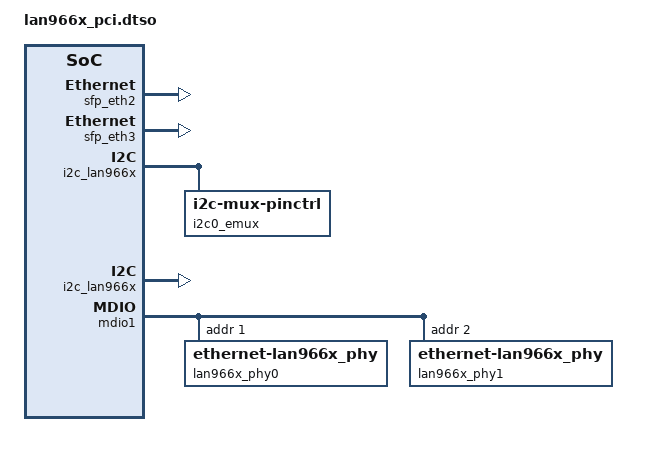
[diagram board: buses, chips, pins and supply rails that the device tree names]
// SPDX-License-Identifier: GPL-2.0
/*
 * Copyright (C) 2022 Microchip UNG
 */

#include <dt-bindings/clock/microchip,lan966x.h>
#include <dt-bindings/gpio/gpio.h>
#include <dt-bindings/interrupt-controller/irq.h>
#include <dt-bindings/mfd/atmel-flexcom.h>
#include <dt-bindings/phy/phy-lan966x-serdes.h>

/dts-v1/;
/plugin/;

/ {
	fragment@0 {
		target-path = "";

		/*
		 * These properties allow to avoid a dtc warnings.
		 * The real interrupt controller is the PCI device itself. It
		 * is the node on which the device tree overlay will be applied.
		 * This node has those properties.
		 */
		#interrupt-cells = <1>;
		interrupt-controller;

		__overlay__ {
			#address-cells = <3>;
			#size-cells = <2>;

			cpu_clk: clock-600000000 {
				compatible = "fixed-clock";
				#clock-cells = <0>;
				clock-frequency = <600000000>;  /* CPU clock = 600MHz */
			};

			ddr_clk: clock-30000000 {
				compatible = "fixed-clock";
				#clock-cells = <0>;
				clock-frequency = <30000000>;  /* Fabric clock = 30MHz */
			};

			sys_clk: clock-15625000 {
				compatible = "fixed-clock";
				#clock-cells = <0>;
				clock-frequency = <15625000>;  /* System clock = 15.625MHz */
			};

			nic_clk: clock-200000000 {
				compatible = "fixed-clock";
				#clock-cells = <0>;
				clock-frequency = <200000000>;  /* NIC clock = 200MHz */
			};

			sfp_eth2: sfp-eth2 {
				compatible       = "sff,sfp";
				i2c-bus          = <&i2c102>;
				tx-disable-gpios = <&gpio  0 GPIO_ACTIVE_HIGH>;
				los-gpios        = <&gpio 25 GPIO_ACTIVE_HIGH>;
				mod-def0-gpios   = <&gpio 18 GPIO_ACTIVE_LOW>;
				tx-fault-gpios   = <&gpio  2 GPIO_ACTIVE_HIGH>;
			};

			sfp_eth3: sfp-eth3 {
				compatible       = "sff,sfp";
				i2c-bus          = <&i2c103>;
				tx-disable-gpios = <&gpio  1 GPIO_ACTIVE_HIGH>;
				los-gpios        = <&gpio 26 GPIO_ACTIVE_HIGH>;
				mod-def0-gpios   = <&gpio 19 GPIO_ACTIVE_LOW>;
				tx-fault-gpios   = <&gpio  3 GPIO_ACTIVE_HIGH>;
			};

			i2c0_emux: i2c0-emux {
				compatible = "i2c-mux-pinctrl";
				#address-cells = <1>;
				#size-cells = <0>;
				i2c-parent = <&i2c_lan966x>;
				pinctrl-names = "i2c102", "i2c103", "idle";
				pinctrl-0 = <&i2cmux_0>;
				pinctrl-1 = <&i2cmux_1>;
				pinctrl-2 = <&i2cmux_pins>;

				i2c102: i2c_sfp1 {
					reg = <0>;
					#address-cells = <1>;
					#size-cells = <0>;
				};

				i2c103: i2c_sfp2 {
					reg = <1>;
					#address-cells = <1>;
					#size-cells = <0>;
				};
			};

			pci-ep-bus@0 {
				compatible = "simple-bus";
				#address-cells = <1>;
				#size-cells = <1>;

				/*
				 * map @0xe2000000 (32MB) to BAR0 (CPU)
				 * map @0xe0000000 (16MB) to BAR1 (AMBA)
				 */
				ranges = <0xe2000000 0x00 0x00 0x00 0x2000000
				          0xe0000000 0x01 0x00 0x00 0x1000000>;

				oic: oic@e00c0120 {
					compatible = "microchip,lan966x-oic";
					#interrupt-cells = <2>;
					interrupt-controller;
					interrupts = <0>; /* PCI INTx assigned interrupt */
					reg = <0xe00c0120 0x190>;
				};

				cpu_ctrl: syscon@e00c0000 {
					compatible = "microchip,lan966x-cpu-syscon", "syscon";
					reg = <0xe00c0000 0xa8>;
				};

				clks: clock-controller@e00c00a8 {
					compatible = "microchip,lan966x-gck";
					#clock-cells = <1>;
					clocks = <&cpu_clk>, <&ddr_clk>, <&sys_clk>;
					reg = <0xe00c00a8 0x38>, <0xe00c02cc 0x4>;
				};

				reset: reset@e200400c {
					compatible = "microchip,lan966x-switch-reset";
					reg = <0xe200400c 0x4>, <0xe00c0000 0xa8>;
					reg-names = "gcb","cpu";
					#reset-cells = <1>;
					cpu-syscon = <&cpu_ctrl>;
				};

				gpio: pinctrl@e2004064 {
					compatible = "microchip,lan966x-pinctrl";
					reg = <0xe2004064 0xb4>,
					      <0xe2010024 0x138>;
					resets = <&reset 0>;
					reset-names = "switch";
					gpio-controller;
					#gpio-cells = <2>;
					gpio-ranges = <&gpio 0 0 78>;
					interrupt-parent = <&oic>;
					interrupt-controller;
					interrupts = <17 IRQ_TYPE_LEVEL_HIGH>;
					#interrupt-cells = <2>;

					tod_pins: tod_pins {
						pins = "GPIO_36";
						function = "ptpsync_1";
					};

					fc0_a_pins: fcb4-i2c-pins {
						/* RXD, TXD */
						pins = "GPIO_9", "GPIO_10";
						function = "fc0_a";
					};

					i2cmux_pins: i2cmux-pins {
						pins = "GPIO_76", "GPIO_77";
						function = "twi_slc_gate";
						output-low;
					};

					i2cmux_0: i2cmux-0 {
						pins = "GPIO_76";
						function = "twi_slc_gate";
						output-high;
					};

					i2cmux_1: i2cmux-1 {
						pins = "GPIO_77";
						function = "twi_slc_gate";
						output-high;
					};

				};

				flx0: flexcom@e0040000 {
					compatible = "atmel,sama5d2-flexcom";
					reg = <0xe0040000 0x100>;
					clocks = <&ddr_clk>;
					#address-cells = <1>;
					#size-cells = <1>;
					ranges = <0x0 0xe0040000 0x800>;

					atmel,flexcom-mode = <ATMEL_FLEXCOM_MODE_TWI>;

					i2c_lan966x: i2c@600 {
						compatible = "microchip,sam9x60-i2c";
						reg = <0x600 0x200>;
						interrupt-parent = <&oic>;
						interrupts = <48 IRQ_TYPE_LEVEL_HIGH>;
						#address-cells = <1>;
						#size-cells = <0>;
						clocks = <&nic_clk>;
						pinctrl-0 = <&fc0_a_pins>;
						pinctrl-names = "default";
						i2c-analog-filter;
						i2c-digital-filter;
						i2c-digital-filter-width-ns = <35>;
						i2c-sda-hold-time-ns = <1500>;
					};
				};

				serdes: serdes@e202c000 {
					compatible = "microchip,lan966x-serdes";
					reg = <0xe202c000 0x9c>,
					      <0xe2004010 0x4>;
					#phy-cells = <2>;
				};

				mdio1: mdio@e200413c {
					#address-cells = <1>;
					#size-cells = <0>;
					compatible = "microchip,lan966x-miim";
					reg = <0xe200413c 0x24>,
					      <0xe2010020 0x4>;

					resets = <&reset 0>;
					reset-names = "switch";

					lan966x_phy0: ethernet-lan966x_phy@1 {
						reg = <1>;
					};

					lan966x_phy1: ethernet-lan966x_phy@2 {
						reg = <2>;
					};
				};

				switch: switch@e0000000 {
					compatible = "microchip,lan966x-pci-switch";
					reg = <0xe0000000 0x0800000>,
					      <0xe2000000 0x0800000>;
					reg-names = "cpu", "gcb";

					interrupt-parent = <&oic>;
					interrupts = <12 IRQ_TYPE_LEVEL_HIGH>,
						     <14 IRQ_TYPE_LEVEL_HIGH>,
						     <9 IRQ_TYPE_LEVEL_HIGH>,
						     <10 IRQ_TYPE_LEVEL_HIGH>,
						     <11 IRQ_TYPE_LEVEL_HIGH>;
					interrupt-names = "xtr", "fdma", "ana",
							  "ptp-sync", "ptp";

					resets = <&reset 0>;
					reset-names = "switch";

					pinctrl-names = "default";
					pinctrl-0 = <&tod_pins>;

					ethernet-ports {
						#address-cells = <1>;
						#size-cells = <0>;

						port0: port@0 {
							phy-handle = <&lan966x_phy0>;

							reg = <0>;
							phy-mode = "gmii";
							phys = <&serdes 0 CU(0)>;

							#address-cells = <1>;
							#size-cells = <0>;

							delay0 {
								reg = <0>;
								speed = <1000>;
								rx_delay = <0x25000>;
								tx_delay = <0x25000>;
							};

							delay1 {
								reg = <0>;
								speed = <100>;
								rx_delay = <0x8f050>;
								tx_delay = <0x8f050>;
							};

							delay2 {
								reg = <0>;
								speed = <10>;
								rx_delay = <0x4b8000>;
								tx_delay = <0x4b8000>;
							};
						};

						port1: port@1 {
							phy-handle = <&lan966x_phy1>;

							reg = <1>;
							phy-mode = "gmii";
							phys = <&serdes 1 CU(1)>;

							#address-cells = <1>;
							#size-cells = <0>;

							delay0 {
								reg = <0>;
								speed = <1000>;
								rx_delay = <0x25000>;
								tx_delay = <0x25000>;
							};

							delay1 {
								reg = <0>;
								speed = <100>;
								rx_delay = <0x8f050>;
								tx_delay = <0x8f050>;
							};

							delay2 {
								reg = <0>;
								speed = <10>;
								rx_delay = <0x4b8000>;
								tx_delay = <0x4b8000>;
							};
						};

						port2: port@2 {
							reg = <2>;
							phy-mode = "sgmii";
							phys = <&serdes 2 SERDES6G(0)>;
							sfp = <&sfp_eth2>;
							managed = "in-band-status";

							#address-cells = <1>;
							#size-cells = <0>;

							delay0 {
								reg = <0>;
								speed = <1000>;
								rx_delay = <0x25000>;
								tx_delay = <0x25000>;
							};

							delay1 {
								reg = <0>;
								speed = <100>;
								rx_delay = <0x8f050>;
								tx_delay = <0x8f050>;
							};

							delay2 {
								reg = <0>;
								speed = <10>;
								rx_delay = <0x4b8000>;
								tx_delay = <0x4b8000>;
							};
						};

						port3: port@3 {
							reg = <3>;
							phy-mode = "sgmii";
							phys = <&serdes 3 SERDES6G(1)>;
							sfp = <&sfp_eth3>;
							managed = "in-band-status";

							#address-cells = <1>;
							#size-cells = <0>;

							delay0 {
								reg = <0>;
								speed = <1000>;
								rx_delay = <0x25000>;
								tx_delay = <0x25000>;
							};

							delay1 {
								reg = <0>;
								speed = <100>;
								rx_delay = <0x8f050>;
								tx_delay = <0x8f050>;
							};

							delay2 {
								reg = <0>;
								speed = <10>;
								rx_delay = <0x4b8000>;
								tx_delay = <0x4b8000>;
							};
						};
					};
				};
			};
		};
	};
};
